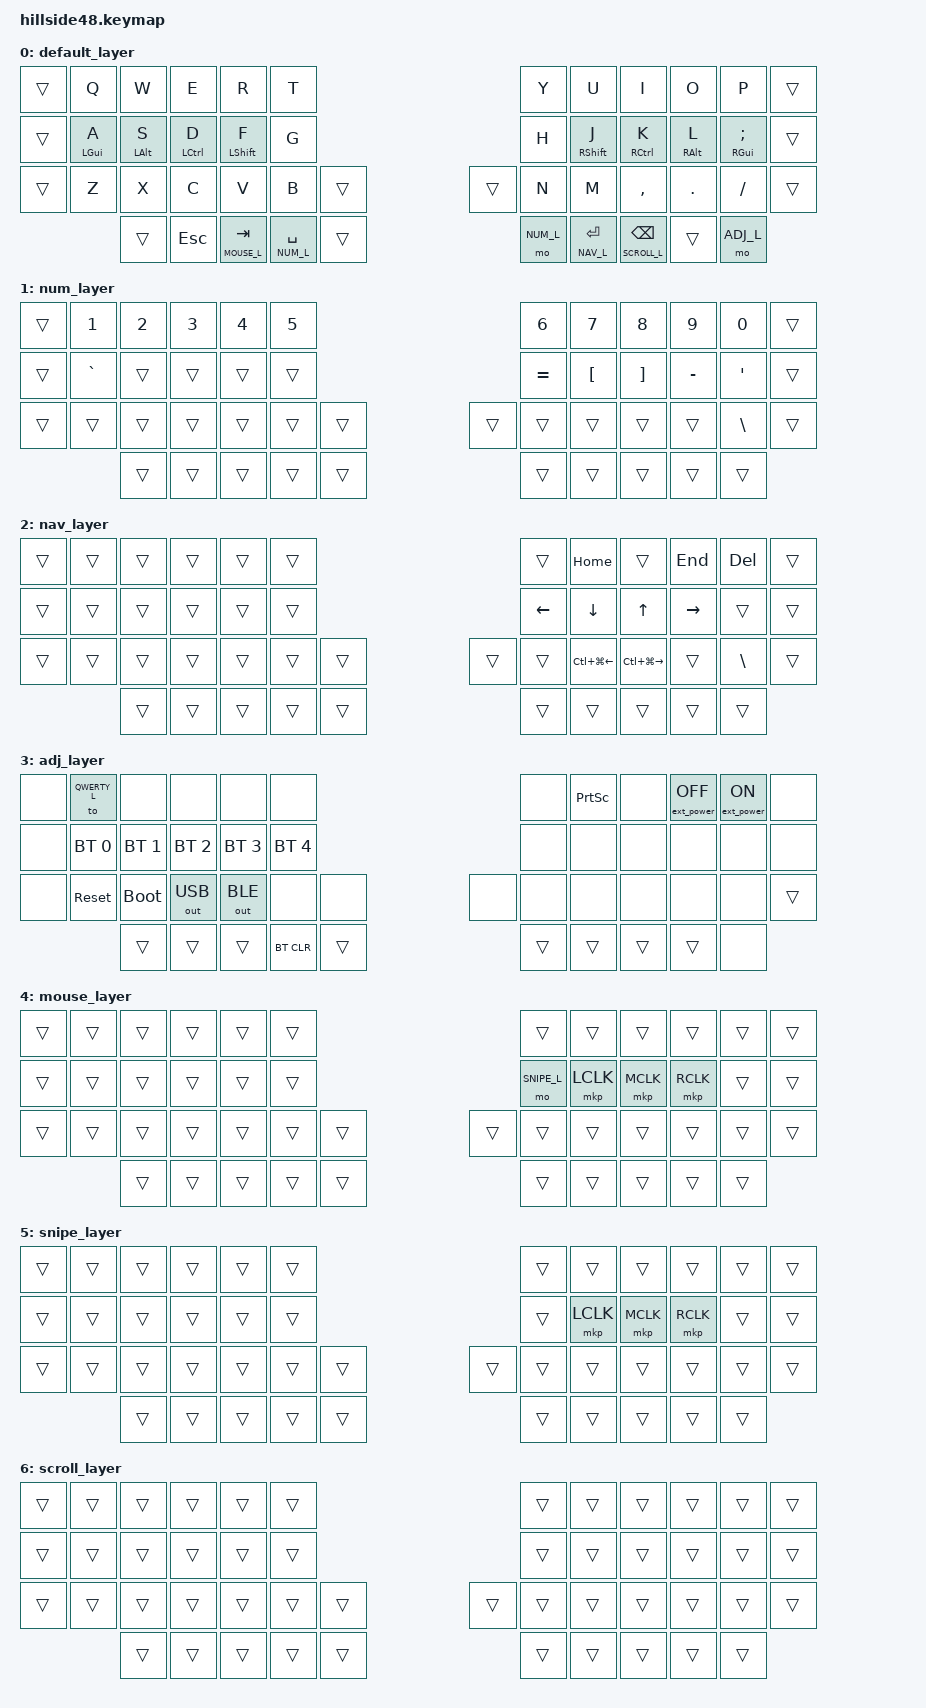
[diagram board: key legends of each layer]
/*
 * Copyright (c) 2022 The ZMK Contributors
 *
 * SPDX-License-Identifier: MIT
 */

#include <behaviors.dtsi>
#include <dt-bindings/zmk/bt.h>
#include <dt-bindings/zmk/ext_power.h>
#include <dt-bindings/zmk/keys.h>
#include <dt-bindings/zmk/mouse.h>
#include <dt-bindings/zmk/outputs.h>

#define QWERTY_L 0
#define NUM_L    1
#define NAV_L    2
#define ADJ_L    3
#define MOUSE_L  4
#define SCROLL_L 5
#define SNIPE_L  6

/ {
        behaviors {
                hm: homerow_mods {
                compatible = "zmk,behavior-hold-tap";
                #binding-cells = <2>;
                tapping-term-ms = <150>;
                quick-tap-ms = <0>;
                flavor = "tap-preferred";
                bindings = <&kp>, <&kp>;
                };
        };

        keymap {
                compatible = "zmk,keymap";

                default_layer {
/* QWERTY
  * -------------------------------------------------------------------------------------------------------------------------------------
 * |       |   Q   |   W   |   E   |   R   |   T   |-----------------------------------|   Y   |   U   |   I   |   O   |   P   |       |
 * |       |   A   |   S   |   D   |   F   |   G   |-----------------------------------|   H   |   J   |   K   |   L   |   ;   |       |
 * |       |   Z   |   X   |   C   |   V   |   B   |       |-------------------|  WIN  |   N   |   M   |   ,   |   .   |   /   |       |
 * ----------------|       |-------|       |  ESC  | SP/SY |  TAB  |---|  SYM  | ENTNAV|  BKS  |       |-------|   ADJ |----------------
 */
                        bindings = <
&trans  &kp  Q          &kp  W          &kp  E              &kp  R            &kp  T                                                                          &kp  Y     &kp  U              &kp  I               &kp  O            &kp P               &trans
&trans  &hm  LEFT_GUI A &hm  LEFT_ALT S &hm  LEFT_CONTROL D &hm  LEFT_SHIFT F &kp  G                                                                          &kp  H     &hm  RIGHT_SHIFT J  &hm  RIGHT_CONTROL K &hm  RIGHT_ALT L  &hm  RIGHT_GUI SEMI &trans
&trans  &kp  Z          &kp  X          &kp  C              &kp  V            &kp  B        &trans                                            &trans          &kp  N     &kp  M              &kp  COMMA           &kp  DOT          &kp  SLASH          &trans
                        &trans                              &kp  ESC            &lt MOUSE_L TAB     &lt NUM_L SPACE &trans               &mo NUM_L    &lt NAV_L ENTER &lt SCROLL_L BSPC  &trans                                   &mo ADJ_L
                        >;
                };

                num_layer {
/* NUM
 * -------------------------------------------------------------------------------------------------------------------------------------
 * |       |   1   |   2   |   3   |   4   |    5  |-----------------------------------|   6   | 7     |  8    |   9   |  0    |       |
 * |       | `~    |       |       |       |       |-----------------------------------|   +=  |   {[  |  ]}   |   -_  |   '"  |       |
 * |       |       |       |       |       |       |       |-------------------|       |       |       |       |       |   \|  |       |
 * ----------------|       |-------|       |       |       |       |---|       |       |       |       |-------|       |----------------
 */
                        bindings = <
&trans &kp N1      &kp N2 &kp N3 &kp N4 &kp N5                                   &kp N6    &kp N7   &kp N8   &kp N9    &kp N0   &trans
&trans &kp GRAVE   &trans &trans &trans &trans                                   &kp EQUAL &kp LBKT &kp RBKT &kp MINUS &kp SQT  &trans
&trans &trans      &trans &trans &trans &trans &trans                     &trans &trans    &trans   &trans   &trans    &kp BSLH &trans
                   &trans        &trans &trans &trans &trans       &trans &trans &trans    &trans            &trans
                        >;
                };

                nav_layer {
/* NAV
 * -------------------------------------------------------------------------------------------------------------------------------------
 * |       |       |       |       |       |       |-----------------------------------|       |  HOME |   ↑   |  END  |  DEL  |       |
 * |       |       |       |       |       |       |-----------------------------------|       |   ←   |   ↓   |   →   |       |       |
 * |       |       |       |       |       |       |       |-------------------|       |       |   <W  |   W>  |       |       |       |
 * ----------------|       |-------|       |       |       |       |---|       |       |       |       |-------|       |----------------
 */
                        bindings = <
&trans &trans &trans &trans &trans &trans                                   &trans    &kp HOME          &trans            &kp END   &kp DEL  &trans
&trans &trans &trans &trans &trans &trans                                   &kp LEFT  &kp DOWN          &kp UP            &kp RIGHT &trans   &trans
&trans &trans &trans &trans &trans &trans &trans                     &trans &trans    &kp LC(LG(LEFT))  &kp LC(LG(RIGHT)) &trans    &kp BSLH &trans
              &trans        &trans &trans &trans &trans       &trans &trans &trans    &trans            &trans
                        >;
                };

                adj_layer {
/* ADJUST
 * -------------------------------------------------------------------------------------------------------------------------------------
 * |       | QWERTY| DVORAK| COLEMK|       |       |-----------------------------------|       |Prt Scr|       | EP_OFF| EP_ON |       |
 * |       | BT 0  | BT 1  | BT 2  | BT 3  | BT 4  |-----------------------------------|       |       |       |       |       |       |
 * | BOOTL | RESET |       |OUT_USB|OUT_BLE|       |BT CLR |-------------------|       |       |       |       |       |       | SHIFT |
 * ----------------|       |-------|       |       |       |       |---|       |       |       |       |-------| CTRL  |----------------
 */
                        bindings = <
&none   &to  QWERTY_L &none         &none         &none         &none                                                                                   &none             &kp PRINTSCREEN    &none         &ext_power EP_OFF  &ext_power EP_ON &none
&none   &bt  BT_SEL 0 &bt  BT_SEL 1 &bt  BT_SEL 2 &bt  BT_SEL 3 &bt  BT_SEL 4                                                                           &none             &none              &none            &none           &none            &none
&none   &sys_reset    &bootloader         &out OUT_USB  &out OUT_BLE  &none         &none                                         &none            &none             &none              &none            &none           &none            &trans
                            &trans                      &trans        &trans        &bt BT_CLR        &trans                 &trans        &trans           &trans            &trans                              &none
                        >;
                };
                mouse_layer {
/* MOUSE
 * -------------------------------------------------------------------------------------------------------------------------------------
 * |       |       |       |       |       |       |-----------------------------------|       |       |       |       |       |       |
 * |       |       |       |       |       |       |-----------------------------------| LCLK  | MCLK  | RCLK  |       |       |       |
 * |       |       |       |       |       |       |       |-------------------|       |       |       |       |       |       |       |
 * ----------------|       |-------|       |       |       |       |---|       |       |       |       |-------|       |----------------
 */
                        bindings = <
&trans &trans &trans &trans &trans &trans                                   &trans    &trans    &trans    &trans &trans &trans
&trans &trans &trans &trans &trans &trans                                   &mo SNIPE_L &mkp LCLK &mkp MCLK &mkp RCLK &trans &trans
&trans &trans &trans &trans &trans &trans &trans                     &trans &trans    &trans    &trans    &trans &trans &trans
              &trans        &trans &trans &trans &trans       &trans &trans &trans    &trans            &trans
                        >;
                };

                snipe_layer {
/* SNIPE - low multiplier for precision cursor movement */
                        bindings = <
&trans &trans &trans &trans &trans &trans                                   &trans &trans     &trans     &trans    &trans &trans
&trans &trans &trans &trans &trans &trans                                   &trans &mkp LCLK &mkp MCLK &mkp RCLK &trans &trans
&trans &trans &trans &trans &trans &trans &trans                     &trans &trans &trans     &trans     &trans    &trans &trans
              &trans        &trans &trans &trans &trans       &trans &trans &trans &trans               &trans
                        >;
                };

                scroll_layer {
/* SCROLL - trackball acts as scroll wheel while this layer is held */
                        bindings = <
&trans &trans &trans &trans &trans &trans                                   &trans &trans &trans &trans &trans &trans
&trans &trans &trans &trans &trans &trans                                   &trans &trans &trans &trans &trans &trans
&trans &trans &trans &trans &trans &trans &trans                     &trans &trans &trans &trans &trans &trans &trans
              &trans        &trans &trans &trans &trans       &trans &trans &trans &trans        &trans
                        >;
                };
        };
};
